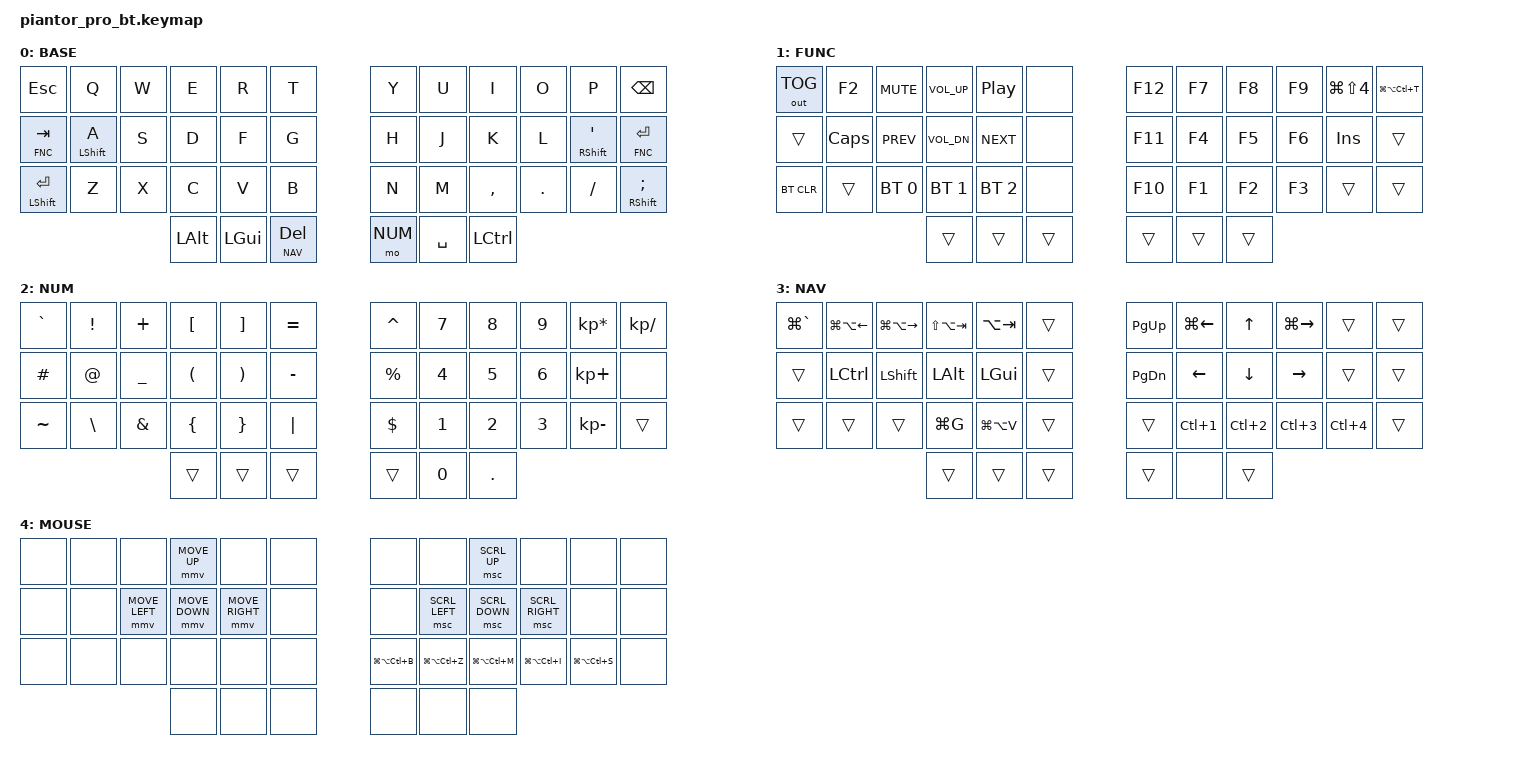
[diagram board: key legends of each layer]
/*
 * Copyright (c) 2020 The ZMK Contributors
 *
 * SPDX-License-Identifier: MIT
 */

#include <behaviors.dtsi>
#include <dt-bindings/zmk/keys.h>
#include <dt-bindings/zmk/bt.h>
// Output Selection Behavior OUT_* keys
#include <dt-bindings/zmk/outputs.h>
#include <dt-bindings/zmk/pointing.h>

#define BASE 0
#define FNC  1
#define NUM  2
#define NAV  3
#define MOUSE 4
#define SAMEAPP LG(GRAVE)
#define PTAB LG(LA(LEFT))
#define NTAB LG(LA(RIGHT))
#define NWIN LA(TAB)
#define PWIN LS(LA(TAB))
#define DESK1 LC(N1)
#define DESK2 LC(N2)
#define DESK3 LC(N3)
#define DESK4 LC(N4)
#define MHOME LG(LEFT)
#define MEND LG(RIGHT)
#define NXTWO LG(G)
#define PRTSC LG(LS(N4))
//paste from sublime history cmd option v
#define SUBL1 LG(LA(V))
// vorssaint copy text from screen
#define VS_SCAN_CHARS LG(LA(LC(T)))
// open Zed
#define CODE LG(LA(LC(Z)))
// open Sublime merge
#define MERGE LG(LA(LC(M)))
// open Iterm
#define ITERM LG(LA(LC(I)))
// open Slack
#define SLACK LG(LA(LC(S)))
// open Chrome
#define BROWSER LG(LA(LC(B)))

// TODO: use
// #define LR_DOWN LA(DOWN)
// #define LR_UP LA(UP)
// #define LR_ZOOM_IN LC(LS(EQUAL))
// #define LR_ZOOM_OUT LC(LS(MINUS))
// #define IDENT_LEFT LG(LEFT_BRACKET)
// #define IDENT_RIGHT LG(RIGHT_BRACKET)
// #define MOVE_TEXT_LEFT LC(LA(K))
// #define MOVE_TEXT_RIGHT LC(LA(L))

/ {
    chosen {
        zmk,physical-layout = &default_layout;
    };
};

/ {
    behaviors {
      hm: homerow_mods {
        compatible = "zmk,behavior-hold-tap";
        label = "homerow mods";
        #binding-cells = <2>;
        tapping_term_ms = <220>;
        flavor = "balanced";
        bindings = <&kp>, <&kp>;
      };
    };

    conditional_layers {
      compatible = "zmk,conditional-layers";
      tri_layer {
        if-layers = <2 3>;
        then-layer = <4>;
      };
    };

    keymap {
      compatible = "zmk,keymap";


// TODO: add DEL
      default_layer {
        display-name = "BASE";
// -----------------------------------------------------------------------------------------------------------------------------------------
// |  ESC     |    Q     |    W     |    E     |    R     |    T     |   |    Y     |    U     |    I     |    O     |    P     |   bksp   |
// | TAB/FN   |    A     |    S     |    D     |    F     |    G     |   |    H     |    J     |    K     |    L     |    '     |  ent/fn  |
// | SHIFT    |    Z     |    X     |    C     |    V     |    B     |   |    N     |    M     |    ,     |    .     |    /     |  shft/;  |
//                                  | OptEn    |   Cmd    |   NAV    |   |   NUM    |   spc    |   Ctl    |
        bindings = <
   &kp ESC       &kp Q       &kp W     &kp E      &kp R      &kp T           &kp Y     &kp U      &kp I      &kp O      &kp P         &kp BSPC
   &lt FNC TAB   &hm LSHFT A &kp S     &kp D      &kp F      &kp G           &kp H     &kp J      &kp K      &kp L      &hm RSHFT SQT &lt FNC RET
   &mt LSHFT RET &kp Z       &kp X     &kp C      &kp V      &kp B           &kp N     &kp M      &kp COMMA  &kp DOT    &kp FSLH      &mt RSHFT SEMI
                                       &kp LALT   &kp LGUI   &lt NAV DEL     &mo NUM   &kp SPC    &kp LCTRL
        >;
      };

      function_layer {
        display-name = "FUNC";

        bindings = <
// | Out TOG   |      F2 |   mute   |   V+       | play/stp |  @     |  |  F12     |  F7     |  F8      |  F9      | Print    | vs_scan_chars |
     &out OUT_TOG &kp F2  &kp C_MUTE &kp C_VOL_UP &kp C_PP    &none       &kp F12    &kp F7    &kp F8     &kp F9     &kp PRTSC  &kp VS_SCAN_CHARS
// | none      |    caps |   Prev   |   V-       |   Next   |   @p   |  | F11      |  F4     |  F5      |  F6      | Ins      | none     |
     &trans    &kp CAPS   &kp C_PREV &kp C_VOL_DN &kp C_NEXT  &none       &kp F11    &kp F4    &kp F5     &kp F6     &kp INS    &trans
// | ClearBLU  |   /Ble   |   Ble0  |   Ble1     |   Ble2   |   ---  |  | F10      |  F1     |  F2      |  F3      | ---      | none     |
     &bt BT_CLR  &trans &bt BT_SEL 0 &bt BT_SEL 1 &bt BT_SEL 2 &none      &kp F10    &kp F1    &kp F2     &kp F3     &trans     &trans
                                      &trans       &trans       &trans    &trans     &trans     &trans
        >;
      };

      num_layer {
        display-name = "NUM";
// ----------------------------------------------------------------------------------------------------------------------------------------
// |    `     |     !    |     +    |   [      |    ]     |    =     |   |     %    |     7    |    8     |    9    |     *    | /        |
// |    #     |     @    |     _    |   (      |    )     |    -     |   |     $    |     4    |    5     |    6    |     +    | ---      |
// |    ~     |     \    |     &    |   {      |    }     |    |     |   |     ^    |     1    |    2     |    3    |     -    | ---      |
//                                  |   ---    |   ---    |   ---    |   |   ---    |     0    |    .     |
        bindings = <
    &kp GRAVE  &kp EXCL   &kp PLUS   &kp LBKT   &kp RBKT   &kp EQUAL      &kp CARET  &kp N7     &kp N8     &kp N9    &kp KP_MULTIPLY &kp KP_DIVIDE
    &kp HASH   &kp AT     &kp UNDER  &kp LPAR   &kp RPAR   &kp MINUS      &kp PRCNT  &kp N4     &kp N5     &kp N6    &kp KP_PLUS     &none
    &kp TILDE  &kp BSLH   &kp AMPS   &kp LBRC   &kp RBRC   &kp PIPE       &kp DLLR   &kp N1     &kp N2     &kp N3    &kp KP_MINUS    &trans
                                     &trans     &trans     &trans         &trans     &kp N0     &kp DOT
        >;
      };


// NAV
// TODO: combo IDENT_ MOVE_TEXT
// TODO: light room
      nav_layer {
        display-name = "NAV";
// ---------------------------------------------------------------------------------------------------------------------------------
// |  SAMEAPP |    Tab-  |    Tab+  |   win+   |    win-  |   ---    |   |   Pgup   |   Home   |   Up     |  End    | ---      |   ---    |
// |   ---    |    Ctrl  |    Shft  |   alt    |    cmd   |   ---    |   |   Pgdw   |   Left   |   Down   |  Right  | ---      |   ---    |
// |   ---    |    ---   |   ---    |   nextw  |   subl1  |   ---    |   |    ---   |   desk1  |  desk2   |  desk3  | desk4    |   ---    |
//                                  |   ---    |   ---    |   ---    |   |    ---   |   ---    |   ---    |

        bindings = <
    &kp SAMEAPP &kp PTAB  &kp NTAB   &kp PWIN   &kp NWIN   &trans         &kp PG_UP  &kp MHOME  &kp UP     &kp MEND  &trans      &trans
    &trans     &kp LCTRL  &kp LSHFT  &kp LALT   &kp LGUI   &trans         &kp PG_DN  &kp LEFT   &kp DOWN   &kp RIGHT &trans      &trans
    &trans     &trans     &trans     &kp NXTWO  &kp SUBL1  &trans         &trans     &kp DESK1  &kp DESK2  &kp DESK3 &kp DESK4   &trans
                                     &trans     &trans     &trans         &trans     &none      &trans
        >;
      };

      mouse_layer {
        display-name = "MOUSE";
// ----------------------------------------------------------------------------------------------------------------------------------------
// |    ---   |    ---    |    up     |    ---   |    ---   |   ---   |   |    ---    |    ---    |    ScrUp  |    ---    |    ---    | ---      |
// |    ---   |    left   |    down   |    right |    ---   |   ---   |   |    ---    |   ScrLeft |   ScrDown |  ScrRight |    ---    | ---      |
// |    ---   |    ---    |    ---    |    ---   |    ---   |   ---   |   |  Browser  |    Zed    |   Merge   |  Iterm    |  Slack    | ---      |
//                                    |    ---   |    ---   |   ---   |   |    ---    |    ---    |    ---    |
        bindings = <
          &none   &none    &none          &mmv MOVE_UP   &none           &none   &none       &none          &msc SCRL_UP   &none           &none     &none
          &none   &none    &mmv MOVE_LEFT &mmv MOVE_DOWN &mmv MOVE_RIGHT &none   &none       &msc SCRL_LEFT &msc SCRL_DOWN &msc SCRL_RIGHT &none     &none
          &none   &none    &none          &none          &none           &none   &kp BROWSER &kp CODE       &kp MERGE      &kp ITERM       &kp SLACK &none
                                          &none          &none           &none   &none       &none          &none
        >;
      };
    };
  };
